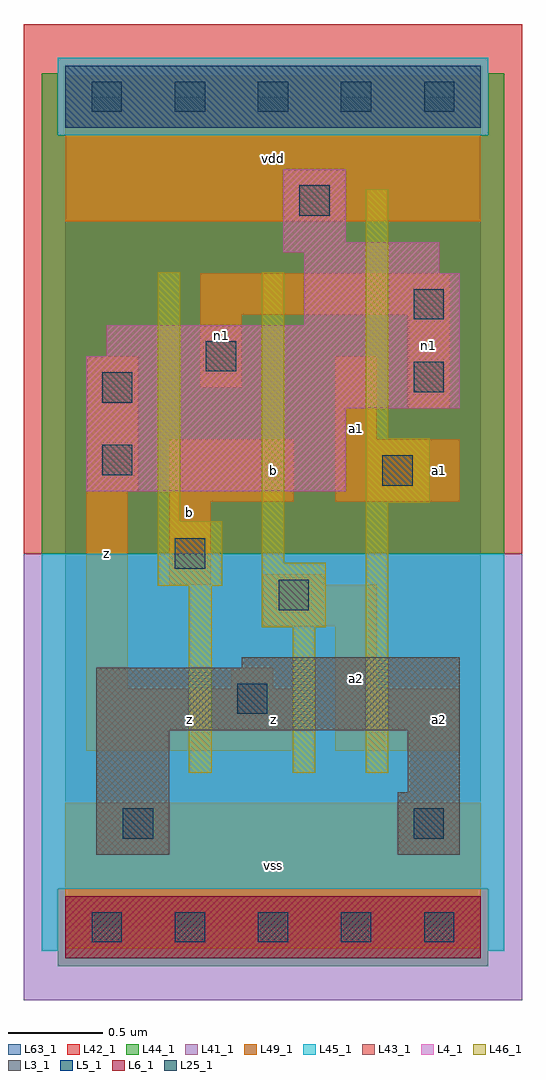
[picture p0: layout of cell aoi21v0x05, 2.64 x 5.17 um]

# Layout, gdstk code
import gdstk
lib = gdstk.Library(unit=1e-6, precision=1e-09)
def R(c, l, rs):  # rectangles x0, y0, x1, y1
    for r in rs: c.add(gdstk.rectangle(r[:2], r[2:], *l))
def A(c, l, x, y, w, h, nx, ny, dx, dy):  # array of equal rectangles
    R(c, l, [(x+i*dx, y+j*dy, x+i*dx+w, y+j*dy+h) for i in range(nx) for j in range(ny)])
L3_1 = (3, 1)
L4_1 = (4, 1)
L5_1 = (5, 1)
L6_1 = (6, 1)
L25_1 = (25, 1)
L41_1 = (41, 1)
L42_1 = (42, 1)
L43_1 = (43, 1)
L44_1 = (44, 1)
L45_1 = (45, 1)
L46_1 = (46, 1)
L49_1 = (49, 1)
L63_1 = (63, 1)

aoi21v0x05 = lib.new_cell('aoi21v0x05')
R(aoi21v0x05, L3_1, [(0.165,0.385,0.55,1.045), (1.76,0.385,2.09,0.715), (1.815,0.715,2.09,1.045), (0.165,1.045,2.09,1.375), (0.935,1.375,2.09,1.43)])
R(aoi21v0x05, L4_1, [(0.11,2.31,1.485,2.75), (0.11,2.75,2.09,3.025), (0.22,3.025,2.09,3.19), (1.265,3.19,2.09,3.465), (1.265,3.465,1.98,3.575), (1.155,3.575,1.98,3.63), (1.155,3.63,1.485,4.015)])
R(aoi21v0x05, L5_1, [(0,4.235,2.2,4.565)])
R(aoi21v0x05, L6_1, [(0,-0.165,2.2,0.165)])
A(aoi21v0x05, L25_1, 0.14, -0.08, 0.16, 0.16, 5, 2, 0.44, 4.4)
R(aoi21v0x05, L25_1, [(0.305,0.47,0.465,0.63), (1.845,0.47,2.005,0.63), (0.91,1.13,1.07,1.29), (1.13,1.68,1.29,1.84), (0.58,1.9,0.74,2.06), (1.68,2.34,1.84,2.5), (0.195,2.395,0.355,2.555), (0.195,2.78,0.355,2.94), (1.845,2.835,2.005,2.995), (0.745,2.945,0.905,3.105), (1.845,3.22,2.005,3.38), (1.24,3.77,1.4,3.93)])
R(aoi21v0x05, L41_1, [(-0.22,-0.385,2.42,1.98)])
R(aoi21v0x05, L42_1, [(-0.22,1.98,2.42,4.785)])
R(aoi21v0x05, L43_1, [(0,-0.165,2.2,0.165), (0.165,0.385,0.55,1.045), (1.76,0.385,2.09,0.715), (1.815,0.715,2.09,1.045), (0.165,1.045,2.09,1.375), (0.935,1.375,2.09,1.43), (0.11,2.31,1.485,2.75), (0.11,2.75,2.09,3.025), (0.22,3.025,2.09,3.19), (1.265,3.19,2.09,3.465), (1.265,3.465,1.98,3.575), (1.155,3.575,1.98,3.63), (1.155,3.63,1.485,4.015), (0,4.235,2.2,4.565)])
R(aoi21v0x05, L44_1, [(-0.04,-0.205,2.24,0.205), (-0.125,1.98,2.325,4.195), (-0.125,4.195,-0.04,4.525), (2.24,4.195,2.325,4.525)])
R(aoi21v0x05, L45_1, [(-0.125,-0.125,-0.04,0.205), (2.24,-0.125,2.325,0.205), (-0.125,0.205,2.325,1.98), (-0.04,4.195,2.24,4.605)])
R(aoi21v0x05, L46_1, [(0.655,0.82,0.775,1.81), (1.205,0.82,1.325,1.59), (1.59,0.82,1.71,2.25), (1.04,1.59,1.38,1.93), (0.49,1.81,0.83,2.15), (1.04,1.93,1.16,3.47), (0.49,2.15,0.61,3.47), (1.59,2.25,1.93,2.59), (1.59,2.59,1.71,3.91)])
R(aoi21v0x05, L49_1, [(0,-0.11,2.2,0.66), (0.11,0.935,1.21,1.265), (1.43,0.935,2.09,1.265), (0.11,1.265,0.33,2.31), (0.88,1.265,1.1,1.375), (1.43,1.265,1.65,1.595), (1.045,1.595,1.65,1.815), (0.55,1.815,0.77,2.255), (1.045,1.815,1.375,1.87), (0.55,2.255,1.21,2.585), (1.43,2.255,2.09,2.585), (0.11,2.31,0.385,3.025), (1.43,2.585,1.65,3.025), (1.815,2.75,2.035,3.245), (0.715,2.86,0.935,3.245), (0.715,3.245,2.035,3.465), (0,3.74,2.2,4.51)])
R(aoi21v0x05, L63_1, [(0,0,2.2,4.4)])
aoi21v0x05.add(gdstk.Label('z', (0.22,1.98), layer=49, texttype=1))
aoi21v0x05.add(gdstk.Label('z', (0.66,1.1), layer=49, texttype=1))
aoi21v0x05.add(gdstk.Label('b', (0.66,2.2), layer=49, texttype=1))
aoi21v0x05.add(gdstk.Label('n1', (0.825,3.135), layer=49, texttype=1))
aoi21v0x05.add(gdstk.Label('vss', (1.1,0.33), layer=49, texttype=1))
aoi21v0x05.add(gdstk.Label('z', (1.1,1.1), layer=49, texttype=1))
aoi21v0x05.add(gdstk.Label('a2', (1.54,1.32), layer=49, texttype=1))
aoi21v0x05.add(gdstk.Label('b', (1.1,2.42), layer=49, texttype=1))
aoi21v0x05.add(gdstk.Label('a1', (1.54,2.64), layer=49, texttype=1))
aoi21v0x05.add(gdstk.Label('vdd', (1.1,4.07), layer=49, texttype=1))
aoi21v0x05.add(gdstk.Label('a2', (1.98,1.1), layer=49, texttype=1))
aoi21v0x05.add(gdstk.Label('a1', (1.98,2.42), layer=49, texttype=1))
aoi21v0x05.add(gdstk.Label('n1', (1.925,3.08), layer=49, texttype=1))

lib.write_gds('aoi21v0x05.gds')
